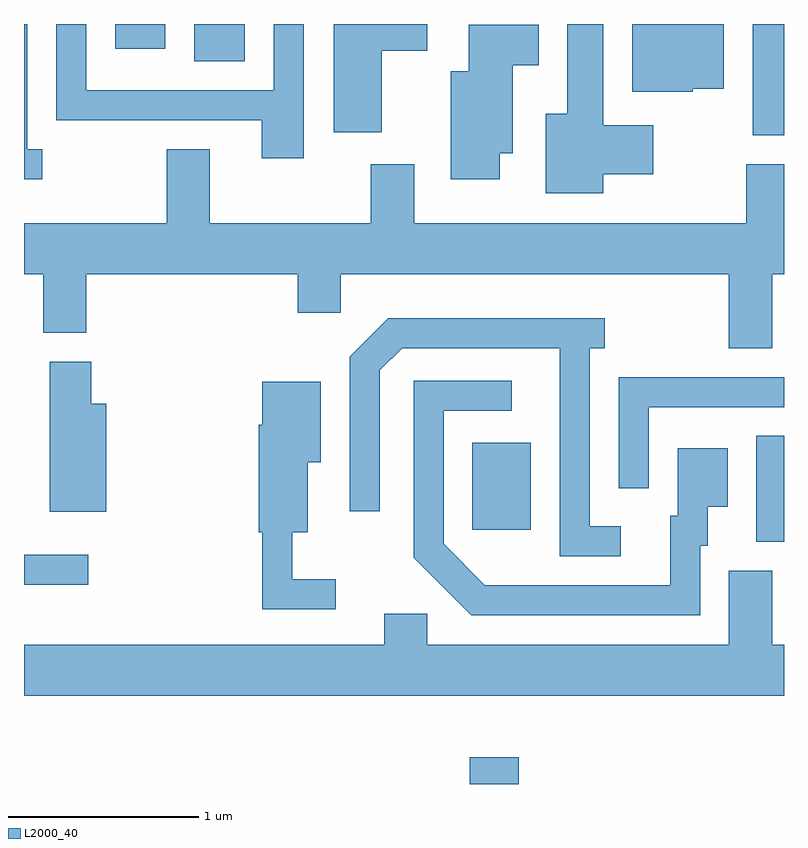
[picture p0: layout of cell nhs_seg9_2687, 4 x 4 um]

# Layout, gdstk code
import gdstk
lib = gdstk.Library(unit=1e-6, precision=1e-09)
def R(c, l, rs):  # rectangles x0, y0, x1, y1
    for r in rs: c.add(gdstk.rectangle(r[:2], r[2:], *l))
def P(c, l, *ps):  # polygons
    for p in ps: c.add(gdstk.Polygon(p, *l))
L2000_40 = (2000, 40)

nhs_seg9_2687 = lib.new_cell('nhs_seg9_2687')
R(nhs_seg9_2687, L2000_40, [(265.956,2022.432,266.214,2022.574), (263.611,2023.481,263.948,2023.639), (267.466,2023.706,267.611,2024.264), (265.971,2023.771,266.279,2024.229), (267.446,2025.846,267.611,2026.432), (264.506,2026.236,264.774,2026.432), (264.091,2026.301,264.354,2026.432)])
P(nhs_seg9_2687, L2000_40, [(265.084,2026.432),(264.926,2026.432),(264.926,2026.084),(263.939,2026.084),(263.939,2026.432),(263.781,2026.432),(263.781,2025.926),(264.861,2025.926),(264.861,2025.726),(265.084,2025.726)],
  [(265.494,2026.291),(265.734,2026.291),(265.734,2026.432),(265.241,2026.432),(265.241,2025.861),(265.494,2025.861)],
  [(263.708,2025.774),(263.629,2025.774),(263.629,2026.432),(263.611,2026.432),(263.611,2025.616),(263.708,2025.616)],
  [(267.13,2026.091),(267.294,2026.091),(267.294,2026.432),(266.811,2026.432),(266.811,2026.076),(267.13,2026.076)],
  [(266.659,2025.641),(266.924,2025.641),(266.924,2025.899),(266.659,2025.899),(266.659,2026.432),(266.471,2026.432),(266.471,2025.959),(266.356,2025.959),(266.356,2025.541),(266.659,2025.541)],
  [(266.114,2025.751),(266.184,2025.751),(266.184,2026.216),(266.319,2026.216),(266.319,2026.429),(265.951,2026.429),(265.951,2026.184),(265.856,2026.184),(265.856,2025.616),(266.114,2025.616)],
  [(267.549,2025.116),(267.611,2025.116),(267.611,2025.694),(267.411,2025.694),(267.411,2025.384),(265.664,2025.384),(265.664,2025.694),(265.436,2025.694),(265.436,2025.384),(264.589,2025.384),(264.589,2025.774),(264.361,2025.774),(264.361,2025.384),(263.611,2025.384),(263.611,2025.116),(263.711,2025.116),(263.711,2024.806),(263.939,2024.806),(263.939,2025.116),(265.051,2025.116),(265.051,2024.911),(265.279,2024.911),(265.279,2025.116),(267.321,2025.116),(267.321,2024.726),(267.549,2024.726)],
  [(266.753,2023.789),(266.589,2023.789),(266.589,2024.726),(266.668,2024.726),(266.668,2024.884),(265.529,2024.884),(265.326,2024.682),(265.326,2023.868),(265.484,2023.868),(265.484,2024.609),(265.602,2024.726),(266.431,2024.726),(266.431,2023.631),(266.753,2023.631)],
  [(264.044,2024.434),(263.964,2024.434),(263.964,2024.654),(263.746,2024.654),(263.746,2023.866),(264.044,2023.866)],
  [(266.899,2024.416),(267.611,2024.416),(267.611,2024.574),(266.741,2024.574),(266.741,2023.988),(266.899,2023.988)],
  [(267.169,2023.686),(267.209,2023.686),(267.209,2023.891),(267.314,2023.891),(267.314,2024.199),(267.051,2024.199),(267.051,2023.844),(267.011,2023.844),(267.011,2023.479),(266.037,2023.479),(265.819,2023.697),(265.819,2024.396),(266.178,2024.396),(266.178,2024.554),(265.661,2024.554),(265.661,2023.624),(265.964,2023.321),(267.169,2023.321)],
  [(265.253,2023.509),(265.024,2023.509),(265.024,2023.756),(265.104,2023.756),(265.104,2024.126),(265.174,2024.126),(265.174,2024.549),(264.866,2024.549),(264.866,2024.324),(264.846,2024.324),(264.846,2023.756),(264.866,2023.756),(264.866,2023.351),(265.253,2023.351)],
  [(267.611,2023.164),(267.549,2023.164),(267.549,2023.554),(267.321,2023.554),(267.321,2023.164),(265.734,2023.164),(265.734,2023.329),(265.506,2023.329),(265.506,2023.164),(263.611,2023.164),(263.611,2022.896),(267.611,2022.896)])

lib.write_gds('nhs_seg9_2687.gds')
